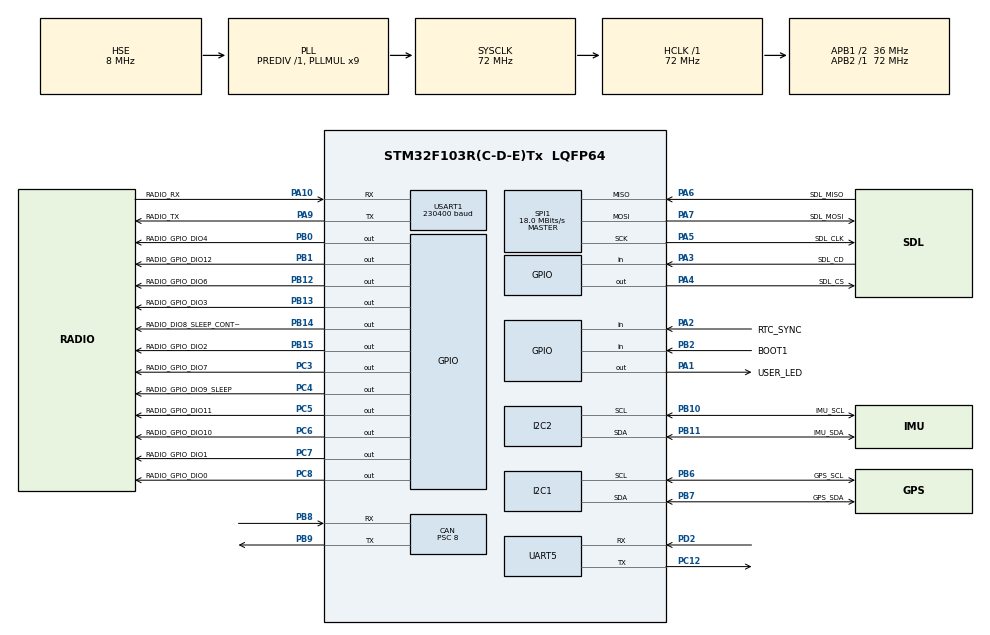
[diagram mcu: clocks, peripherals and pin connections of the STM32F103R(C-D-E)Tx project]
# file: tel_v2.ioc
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CAN.BS1=CAN_BS1_4TQ
CAN.BS2=CAN_BS2_4TQ
CAN.CalculateBaudRate=500000
CAN.CalculateTimeBit=2000
CAN.CalculateTimeQuantum=222.22222222222223
CAN.Prescaler=8
FATFS._FS_REENTRANT=0
FATFS._MAX_SS=4096
FATFS._USE_LFN=3
FREERTOS.Tasks01=StartDefaultTask,-2,128,startDefaultTask,Default,NULL,Dynamic,NULL,NULL;readCANTask,0,512,read_CAN_task,Default,NULL,Dynamic,NULL,NULL;readIMUTask,0,512,read_IMU_task,Default,NULL,Dynamic,NULL,NULL;readGPSTask,0,1536,read_GPS_task,Default,NULL,Dynamic,NULL,NULL;transmitRTCTask,0,512,transmit_RTC_task,Default,NULL,Dynamic,NULL,NULL;transmitDiagnosticsTask,0,512,transmit_Diagnostics_task,Default,NULL,Dynamic,NULL,NULL
FREERTOS.configMAX_TASK_NAME_LEN=32
FREERTOS.configTOTAL_HEAP_SIZE=20480
FREERTOS.configUSE_NEWLIB_REENTRANT=1
Mcu.Family=STM32F1
Mcu.Name=STM32F103R(C-D-E)Tx
Mcu.Package=LQFP64
NVIC.PriorityGroup=NVIC_PRIORITYGROUP_4
NVIC.TIM1_UP_IRQn=true\:15\:0\:false\:false\:true\:false\:false\:true\:true
NVIC.TimeBase=TIM1_UP_IRQn
NVIC.TimeBaseIP=TIM1
NVIC.USB_LP_CAN1_RX0_IRQn=true\:5\:0\:false\:false\:true\:true\:true\:true\:true
PA1.GPIO_Label=USER_LED
PA1.Signal=GPIO_Output
PA10.GPIO_Label=RADIO_RX
PA10.Mode=Asynchronous
PA10.Signal=USART1_RX
PA13.Mode=Serial_Wire
PA13.Signal=SYS_JTMS-SWDIO
PA14.Mode=Serial_Wire
PA14.Signal=SYS_JTCK-SWCLK
PA2.GPIO_Label=RTC_SYNC
PA2.Signal=GPIO_Input
PA3.GPIO_Label=SDL_CD
PA3.Signal=GPIO_Input
PA4.GPIO_Label=SDL_CS
PA4.PinState=GPIO_PIN_RESET
PA4.Signal=GPIO_Output
PA5.GPIO_Label=SDL_CLK
PA5.Mode=Full_Duplex_Master
PA5.Signal=SPI1_SCK
PA6.GPIO_Label=SDL_MISO
PA6.Mode=Full_Duplex_Master
PA6.Signal=SPI1_MISO
PA7.GPIO_Label=SDL_MOSI
PA7.Mode=Full_Duplex_Master
PA7.Signal=SPI1_MOSI
PA9.GPIO_Label=RADIO_TX
PA9.Mode=Asynchronous
PA9.Signal=USART1_TX
PB0.GPIO_Label=RADIO_GPIO_DIO4
PB0.PinState=GPIO_PIN_SET
PB0.Signal=GPIO_Output
PB1.GPIO_Label=RADIO_GPIO_DIO12
PB1.Signal=GPIO_Output
PB10.GPIO_Label=IMU_SCL
PB10.Mode=I2C
PB10.Signal=I2C2_SCL
PB11.GPIO_Label=IMU_SDA
PB11.Mode=I2C
PB11.Signal=I2C2_SDA
PB12.GPIO_Label=RADIO_GPIO_DIO6
PB12.Signal=GPIO_Output
PB13.GPIO_Label=RADIO_GPIO_DIO3
PB13.PinState=GPIO_PIN_SET
PB13.Signal=GPIO_Output
PB14.GPIO_Label=RADIO_DIO8_SLEEP_CONTROL
PB14.Signal=GPIO_Output
PB15.GPIO_Label=RADIO_GPIO_DIO2
PB15.PinState=GPIO_PIN_SET
PB15.Signal=GPIO_Output
PB2.GPIO_Label=BOOT1
PB2.Signal=GPIO_Input
PB6.GPIO_Label=GPS_SCL
PB6.Mode=I2C
PB6.Signal=I2C1_SCL
PB7.GPIO_Label=GPS_SDA
PB7.Mode=I2C
PB7.Signal=I2C1_SDA
PB8.Mode=CAN_Activate
PB8.Signal=CAN_RX
PB9.Mode=CAN_Activate
PB9.Signal=CAN_TX
PC12.Mode=Asynchronous
PC12.Signal=UART5_TX
PC14-OSC32_IN.Mode=LSE-External-Oscillator
PC14-OSC32_IN.Signal=RCC_OSC32_IN
PC15-OSC32_OUT.Mode=LSE-External-Oscillator
PC15-OSC32_OUT.Signal=RCC_OSC32_OUT
PC3.GPIO_Label=RADIO_GPIO_DIO7
PC3.Signal=GPIO_Output
PC4.GPIO_Label=RADIO_GPIO_DIO9_SLEEP
PC4.Signal=GPIO_Output
PC5.GPIO_Label=RADIO_GPIO_DIO11
PC5.Signal=GPIO_Output
PC6.GPIO_Label=RADIO_GPIO_DIO10
PC6.Signal=GPIO_Output
PC7.GPIO_Label=RADIO_GPIO_DIO1
PC7.PinState=GPIO_PIN_SET
PC7.Signal=GPIO_Output
PC8.GPIO_Label=RADIO_GPIO_DIO0
PC8.PinState=GPIO_PIN_SET
PC8.Signal=GPIO_Output
PD0-OSC_IN.Mode=HSE-External-Oscillator
PD0-OSC_IN.Signal=RCC_OSC_IN
PD1-OSC_OUT.Mode=HSE-External-Oscillator
PD1-OSC_OUT.Signal=RCC_OSC_OUT
PD2.Mode=Asynchronous
PD2.Signal=UART5_RX
ProjectManager.HeapSize=0x200
ProjectManager.StackSize=0x400
ProjectManager.TargetToolchain=STM32CubeIDE
RCC.AHBFreq_Value=72000000
RCC.APB1CLKDivider=RCC_HCLK_DIV2
RCC.APB1Freq_Value=36000000
RCC.APB1TimFreq_Value=72000000
RCC.APB2Freq_Value=72000000
RCC.APB2TimFreq_Value=72000000
RCC.HCLKFreq_Value=72000000
RCC.PLLMUL=RCC_PLL_MUL9
RCC.PLLSourceVirtual=RCC_PLLSOURCE_HSE
RCC.RTCClockSelection=RCC_RTCCLKSOURCE_LSE
RCC.SYSCLKFreq_VALUE=72000000
RCC.SYSCLKSource=RCC_SYSCLKSOURCE_PLLCLK
RCC.USBFreq_Value=72000000
SPI1.BaudRatePrescaler=SPI_BAUDRATEPRESCALER_4
SPI1.CalculateBaudRate=18.0 MBits/s
SPI1.Direction=SPI_DIRECTION_2LINES
SPI1.Mode=SPI_MODE_MASTER
SPI1.VirtualType=VM_MASTER
UART5.StopBits=UART_STOPBITS_2
UART5.VirtualMode=Asynchronous
USART1.BaudRate=230400
USART1.VirtualMode=VM_ASYNC
VP_FATFS_VS_Generic.Mode=User_defined
VP_FREERTOS_VS_CMSIS_V1.Mode=CMSIS_V1
VP_RTC_VS_RTC_Activate.Mode=RTC_Enabled
VP_RTC_VS_RTC_Calendar.Mode=RTC_Calendar
VP_SYS_VS_tim1.Mode=TIM1
board=custom

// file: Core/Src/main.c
/* USER CODE BEGIN Header */
/**
  ******************************************************************************
  * @file           : main.c
  * @brief          : Main program body
  ******************************************************************************
  * @attention
  *
  * Copyright (c) 2023 STMicroelectronics.
  * All rights reserved.
  *
  * This software is licensed under terms that can be found in the LICENSE file
  * in the root directory of this software component.
  * If no LICENSE file comes with this software, it is provided AS-IS.
  *
  ******************************************************************************
  */
/* USER CODE END Header */
#include "main.h"
#include "cmsis_os.h"
#include "can.h"
#include "fatfs.h"
#include "i2c.h"
#include "rtc.h"
#include "spi.h"
#include "usart.h"
#include "gpio.h"

/* USER CODE BEGIN Includes */
#include <stdbool.h>
#include <stdio.h>
#include <string.h>
#include "debug_io.h"
#include "sd_logger.h"

/* USER CODE END Includes */

/* USER CODE BEGIN PD */
#define CAN_MESSAGE_QUEUE_SIZE 10
#define IMU_QUEUE_SIZE 10
/* USER CODE END PD */

/* USER CODE BEGIN PV */

/* Diagnostics */

tel_diagnostics g_tel_diagnostics = {false, false, false, false, false};

/* CAN Filters */
CAN_FilterTypeDef CAN_filter0;
CAN_FilterTypeDef CAN_filter1;

/* HAL Status */
HAL_StatusTypeDef rx_status;

/* Log File */
FIL* logfile;

/* USER CODE END PV */

void SystemClock_Config(void);
void MX_FREERTOS_Init(void);

int main(void)
{

  /* MCU Configuration--------------------------------------------------------*/

  /* Reset of all peripherals, Initializes the Flash interface and the Systick. */
  HAL_Init();

  /* Configure the system clock */
  SystemClock_Config();

  /* Initialize all configured peripherals */
  MX_GPIO_Init();
  MX_CAN_Init();
  MX_SPI1_Init();
  MX_UART5_Init();
  MX_I2C1_Init();
  MX_I2C2_Init();
  MX_USART1_UART_Init();
  MX_RTC_Init();
  MX_FATFS_Init();
  /* USER CODE BEGIN 2 */

  DebugIO_Init(&huart5);
  initIMU();

  // Sync with RTC if date = Jan 1 2000 or GPIO is set to high
  RTC_DateTypeDef curr_date;
  RTC_TimeTypeDef curr_time;
  HAL_RTC_GetDate(&hrtc, &curr_date, RTC_FORMAT_BIN);
  /* Sync the RTC with GPS if date is Jan 1, 2000 */
  if ((curr_date.Month == RTC_MONTH_JANUARY && curr_date.Date == 1 && curr_date.Year == 0) || HAL_GPIO_ReadPin(RTC_SYNC_GPIO_Port, RTC_SYNC_Pin) == GPIO_PIN_SET) {
      Sync_RTC_With_GPS();
      g_tel_diagnostics.rtc_reset = true;
  }

//  FRESULT fresult;
//  char startup_message[60];
//  char filename[30];

//  HAL_RTC_GetDate(&hrtc, &curr_date, RTC_FORMAT_BIN);
//  HAL_RTC_GetTime(&hrtc, &curr_time, RTC_FORMAT_BIN);

  /* Year - Month - Date  Format */
//  sprintf(startup_message, "TEL start up on 20%u %u %u at %u:%u:%u", curr_date.Year,
//	  curr_date.Month, curr_date.Date, curr_time.Hours, curr_time.Minutes, curr_time.Seconds);

  /* mount SD card */
//  DSTATUS stat = disk_status(0);
//  DSTATUS stat2 = disk_initialize(0);
//  fresult = sd_mount();
  // if (fresult == FR_OK) printf("SD Mounted Successfully\n\r");
  // else printf("SD NOT Mounted\n\r");

//  sprintf(filename, "TEL-20%u-%u-%uT%u-%u-%u.txt", curr_date.Year, curr_date.Month,
//	  curr_date.Date, curr_time.Hours, curr_time.Minutes, curr_time.Seconds);
//  logfile = sd_open(filename);
//  sd_append(logfile, startup_message);

  /* USER CODE END 2 */

  /* Call init function for freertos objects (in freertos.c) */
  MX_FREERTOS_Init();

  /* Start scheduler */
  osKernelStart();

  /* We should never get here as control is now taken by the scheduler */
  /* Infinite loop */
  while (1)
  {

  }
}

void SystemClock_Config(void)
{
  RCC_OscInitTypeDef RCC_OscInitStruct = {0};
  RCC_ClkInitTypeDef RCC_ClkInitStruct = {0};
  RCC_PeriphCLKInitTypeDef PeriphClkInit = {0};

  /** Initializes the RCC Oscillators according to the specified parameters
  * in the RCC_OscInitTypeDef structure.
  */
  RCC_OscInitStruct.OscillatorType = RCC_OSCILLATORTYPE_HSE|RCC_OSCILLATORTYPE_LSE;
  RCC_OscInitStruct.HSEState = RCC_HSE_ON;
  RCC_OscInitStruct.HSEPredivValue = RCC_HSE_PREDIV_DIV1;
  RCC_OscInitStruct.LSEState = RCC_LSE_ON;
  RCC_OscInitStruct.HSIState = RCC_HSI_ON;
  RCC_OscInitStruct.PLL.PLLState = RCC_PLL_ON;
  RCC_OscInitStruct.PLL.PLLSource = RCC_PLLSOURCE_HSE;
  RCC_OscInitStruct.PLL.PLLMUL = RCC_PLL_MUL9;
  if (HAL_RCC_OscConfig(&RCC_OscInitStruct) != HAL_OK)
  {
    Error_Handler();
  }

  /** Initializes the CPU, AHB and APB buses clocks
  */
  RCC_ClkInitStruct.ClockType = RCC_CLOCKTYPE_HCLK|RCC_CLOCKTYPE_SYSCLK
                              |RCC_CLOCKTYPE_PCLK1|RCC_CLOCKTYPE_PCLK2;
  RCC_ClkInitStruct.SYSCLKSource = RCC_SYSCLKSOURCE_PLLCLK;
  RCC_ClkInitStruct.AHBCLKDivider = RCC_SYSCLK_DIV1;
  RCC_ClkInitStruct.APB1CLKDivider = RCC_HCLK_DIV2;
  RCC_ClkInitStruct.APB2CLKDivider = RCC_HCLK_DIV1;

  if (HAL_RCC_ClockConfig(&RCC_ClkInitStruct, FLASH_LATENCY_2) != HAL_OK)
  {
    Error_Handler();
  }
  PeriphClkInit.PeriphClockSelection = RCC_PERIPHCLK_RTC;
  PeriphClkInit.RTCClockSelection = RCC_RTCCLKSOURCE_LSE;
  if (HAL_RCCEx_PeriphCLKConfig(&PeriphClkInit) != HAL_OK)
  {
    Error_Handler();
  }
}

void HAL_TIM_PeriodElapsedCallback(TIM_HandleTypeDef *htim)
{
  if (htim->Instance == TIM1) {
    HAL_IncTick();
  }
}

void Error_Handler(void)
{
  __disable_irq();
  while (1)
  {
  }
}

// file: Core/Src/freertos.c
/* USER CODE BEGIN Header */
/**
  ******************************************************************************
  * File Name          : freertos.c
  * Description        : Code for freertos applications
  ******************************************************************************
  * @attention
  *
  * Copyright (c) 2023 STMicroelectronics.
  * All rights reserved.
  *
  * This software is licensed under terms that can be found in the LICENSE file
  * in the root directory of this software component.
  * If no LICENSE file comes with this software, it is provided AS-IS.
  *
  ******************************************************************************
  */
/* USER CODE END Header */

#include "FreeRTOS.h"
#include "task.h"
#include "main.h"
#include "cmsis_os.h"

/* USER CODE BEGIN Includes */

#include <stdio.h>
#include <time.h>
#include "can.h"
#include "gpio.h"
#include "spi.h"
#include "usart.h"
#include "i2c.h"
#include "nmea_parse.h"
#include "rtc.h"
#include "fatfs_sd.h"
#include "imu.h"
#include "sd_logger.h"
#include "main.h"

/* USER CODE END Includes */

/* USER CODE BEGIN PD */

#define KERNEL_LED_DELAY   200	      // 200 milliseconds
#define READ_IMU_DELAY     100	      // 100 milliseconds
#define READ_GPS_DELAY     10 * 1000  // 10 seconds (change to 5 minutes later)
#define TRANSMIT_RTC_DELAY 5000       // 5000 milliseconds
#define DEFAULT_TASK_DELAY 500        // 500 milliseconds
#define TRANSMIT_DIAGNOSTICS_DELAY 2000 // 2000 milliseconds

#define CAN_BUFFER_LEN  24

#define GPS_MESSAGE_LEN 200

#define GPS_RCV_BUFFER_SIZE 512

union FloatBytes {
    float float_value;
    uint8_t bytes[4];
} FloatBytes;

/* Use this MACRO to split the time stamp into individual bytes */
#define GET_BYTE_FROM_WORD(i, word) ((word >> (i * 8)) & 0xFF);

/* USER CODE END PD */

/* USER CODE BEGIN Variables */

extern FIL* logfile;

CAN_msg_t msg_t;

int drive_cmd_count; // Used for only logging this 10 times per second

/* Define Memory Pool for the CAN_MSG queue data */
osPoolDef (CAN_MSG_memory_pool, 32, CAN_msg_t);  // Declare memory pool
osPoolId  CAN_MSG_memory_pool;                 // Memory pool ID

/* Create the Queue */
// https://community.st.com/t5/stm32-mcus-products/osmessageget-crashing/td-p/257324
// See this link for issues why osMessageGet may crash
// osMessageQDef needs a pointer to the structure type, which needs to be a "dummy", not pointer to typedef.
osMessageQDef(CAN_MSG_Rx_Queue, 32, &msg_t);              // Define message queue
osMessageQId  CAN_MSG_Rx_Queue;

/* USER CODE END Variables */
osThreadId StartDefaultTaskHandle;
osThreadId readCANTaskHandle;
osThreadId readIMUTaskHandle;
osThreadId readGPSTaskHandle;
osThreadId transmitRTCTaskHandle;
osThreadId transmitDiagnosticsTaskHandle;

/* USER CODE BEGIN FunctionPrototypes */
void check_IMU_result(union FloatBytes ax_x, union FloatBytes ax_y, union FloatBytes ax_z,
		      union FloatBytes gy_x, union FloatBytes gy_y, union FloatBytes gy_z);

void send_CAN_Radio(CAN_Radio_msg_t *tx_CAN_msg);

/* USER CODE END FunctionPrototypes */

void startDefaultTask(void const * argument);
void read_CAN_task(void const * argument);
void read_IMU_task(void const * argument);
void read_GPS_task(void const * argument);
void transmit_RTC_task(void const * argument);
void transmit_Diagnostics_task(void const * argument);

void MX_FREERTOS_Init(void); /* (MISRA C 2004 rule 8.1) */

/* GetIdleTaskMemory prototype (linked to static allocation support) */
void vApplicationGetIdleTaskMemory( StaticTask_t **ppxIdleTaskTCBBuffer, StackType_t **ppxIdleTaskStackBuffer, uint32_t *pulIdleTaskStackSize );

/* USER CODE BEGIN GET_IDLE_TASK_MEMORY */
static StaticTask_t xIdleTaskTCBBuffer;
static StackType_t xIdleStack[configMINIMAL_STACK_SIZE];

void vApplicationGetIdleTaskMemory( StaticTask_t **ppxIdleTaskTCBBuffer, StackType_t **ppxIdleTaskStackBuffer, uint32_t *pulIdleTaskStackSize )
{
  *ppxIdleTaskTCBBuffer = &xIdleTaskTCBBuffer;
  *ppxIdleTaskStackBuffer = &xIdleStack[0];
  *pulIdleTaskStackSize = configMINIMAL_STACK_SIZE;
  /* place for user code */
}
/* USER CODE END GET_IDLE_TASK_MEMORY */

void MX_FREERTOS_Init(void) {
  /* USER CODE BEGIN Init */

  drive_cmd_count = 0;

  /* USER CODE END Init */

  /* USER CODE BEGIN RTOS_QUEUES */
  /* add queues, ... */

  CAN_MSG_memory_pool = osPoolCreate(osPool(CAN_MSG_memory_pool));                 // create memory pool
  CAN_MSG_Rx_Queue = osMessageCreate(osMessageQ(CAN_MSG_Rx_Queue), NULL);  // create msg queue

  /* USER CODE END RTOS_QUEUES */

  /* Create the thread(s) */
  /* definition and creation of StartDefaultTask */
  osThreadDef(StartDefaultTask, startDefaultTask, osPriorityLow, 0, 128);
  StartDefaultTaskHandle = osThreadCreate(osThread(StartDefaultTask), NULL);

  /* definition and creation of readCANTask */
  osThreadDef(readCANTask, read_CAN_task, osPriorityNormal, 0, 512);
  readCANTaskHandle = osThreadCreate(osThread(readCANTask), NULL);

  /* definition and creation of readIMUTask */
  osThreadDef(readIMUTask, read_IMU_task, osPriorityNormal, 0, 512);
  readIMUTaskHandle = osThreadCreate(osThread(readIMUTask), NULL);

  /* definition and creation of readGPSTask */
  osThreadDef(readGPSTask, read_GPS_task, osPriorityNormal, 0, 1536);
  readGPSTaskHandle = osThreadCreate(osThread(readGPSTask), NULL);

  /* definition and creation of transmitRTCTask */
  osThreadDef(transmitRTCTask, transmit_RTC_task, osPriorityNormal, 0, 512);
  transmitRTCTaskHandle = osThreadCreate(osThread(transmitRTCTask), NULL);

  /* definition and creation of transmitDiagnosticsTask */
  osThreadDef(transmitDiagnosticsTask, transmit_Diagnostics_task, osPriorityNormal, 0, 512);
  transmitDiagnosticsTaskHandle = osThreadCreate(osThread(transmitDiagnosticsTask), NULL);

}

void startDefaultTask(void const * argument)
{
  /* USER CODE BEGIN startDefaultTask */
  Can_Init();

  /* Infinite loop */
  for(;;)
  {
    //printf("startDefaultTask()\n\r");
//    HAL_GPIO_TogglePin(USER_LED_GPIO_Port, USER_LED_Pin);
    osDelay(DEFAULT_TASK_DELAY);
  }
  /* USER CODE END startDefaultTask */
}

void read_CAN_task(void const * argument)
{
  /* USER CODE BEGIN read_CAN_task */
  CAN_msg_t *rx_CAN_msg;
  osEvent evt;

  /* Infinite loop */
  while (1) {
    //printf("read_CAN_task()\n\r");
    /* Wait for thread flags to be set in the CAN Rx FIFO0 Interrupt Callback */
    osSignalWait(CAN_READY, osWaitForever);

    /*
     * Control Flow:
     * Wait for Flag from Interrupt
     * After flag occurs, read messages from queue repeatedly until it is empty
     * Once empty, wait for flag again.
     */

    /* Get CAN Message from Queue */
    while(1) {
      uint8_t radio_buffer[CAN_BUFFER_LEN] = {0};
      evt = osMessageGet(CAN_MSG_Rx_Queue, osWaitForever);
      if (evt.status == osEventMessage) {
	  HAL_GPIO_TogglePin(USER_LED_GPIO_Port, USER_LED_Pin);
	  rx_CAN_msg = evt.value.p; // Get pointer from the queue union

	 // 0-7: Timestamp
	 // 8: '#'
	 // 9-12: CAN ID
	 // 13-20: CAN Data
	 // 21: CAN Data Length
	 // 22: '\r'             // TODO: Do we need this? maybe just use \0 instead?
	 // 23: '\n'

	 /* TIMESTAMP */

	 for (uint8_t i = 0; i < 8; i++) {
//	   radio_buffer[7 - i] = GET_BYTE_FROM_WORD(i, current_timestamp.double_as_int);
	   radio_buffer[7 - i] = (char) GET_BYTE_FROM_WORD(i, rx_CAN_msg->timestamp.double_as_int);
	 }

	 /* CAN MESSAGE IDENTIFIER */
	 radio_buffer[8] = '#';

	 /* CAN ID */ // TODO: Check if this is correct. Are the 0 bytes in the STD in the correct spot?
	 if (rx_CAN_msg->header.IDE == CAN_ID_STD)
	 {
	   radio_buffer[12]  = 0xFF & (rx_CAN_msg->header.StdId);
	   radio_buffer[11] = 0xFF & (rx_CAN_msg->header.StdId >> 8);
	 }
	 else if (rx_CAN_msg->header.IDE == CAN_ID_EXT)
	 {
	   radio_buffer[12]  = 0xFF & (rx_CAN_msg->header.ExtId);
	   radio_buffer[11] = 0xFF & (rx_CAN_msg->header.ExtId >> 8);
	   radio_buffer[10] = 0xFF & (rx_CAN_msg->header.ExtId >> 16);
	   radio_buffer[9] = 0xFF & (rx_CAN_msg->header.ExtId >> 24);
	 }

	 /* CAN DATA */
	 for (uint8_t i = 0; i < 8; i++) {
	   radio_buffer[13 + i] = rx_CAN_msg->data[i];
	 }

	 /* CAN DATA LENGTH */
	 radio_buffer[21] = rx_CAN_msg->header.DLC & 0xF;

	 /* CARRIAGE RETURN */
	 radio_buffer[CAN_BUFFER_LEN - 2] = '\r';

	 /* NEW LINE */
	 radio_buffer[CAN_BUFFER_LEN - 1] = '\n';

//	 sd_append_as_hexnums(logfile, radio_buffer, CAN_BUFFER_LEN);

	 /* Transmit over Radio */
	 HAL_UART_Transmit(&huart1, radio_buffer, sizeof(radio_buffer), 1000);

//	 /* Check for drive command */
//	 if (rx_CAN_msg->header.StdId == 0x401) {
//	     drive_cmd_count++; // Increment the count received
//	     if (drive_cmd_count == 10) { // Log every 10 of these messages
//		 sd_append_as_hexnums(logfile, radio_buffer, CAN_BUFFER_LEN);
//		 drive_cmd_count = 0; // Reset the counter
//	     }
//	 }
//	 else { // Always write non drive command msgs to SD logger
//	   /* Convert radio_buffer to hex_string so it can be logged. MUST NOT USE strlen */
//	   sd_append_as_hexnums(logfile, radio_buffer, CAN_BUFFER_LEN);
//	 }

	/* Free the memory allocated for this message */
	osPoolFree(CAN_MSG_memory_pool, rx_CAN_msg);

       }
      else break;
    }
//    else osDelay(5);
  }

  /* USER CODE END read_CAN_task */
}

void read_IMU_task(void const * argument)
{
  /* USER CODE BEGIN read_IMU_task */

  /* Infinite loop */
  while(1)
  {
    //printf("read_IMU_task()\n\r");
    /* Initialize a IMU buffer */
    uint8_t imu_buffer[IMU_MESSAGE_LEN] = {0};

    union FloatBytes ax_x, ax_y, ax_z, gy_x, gy_y, gy_z;

    /* Read accelerator data */
    uint8_t accel_data[NUM_ACCEL_BYTES];
    HAL_StatusTypeDef imu_status = HAL_OK;

    imu_status |= HAL_I2C_Mem_Read(&hi2c2, IMU_DEVICE_ADDRESS, ACCEL_XOUT_H_REG, 1, accel_data, NUM_ACCEL_BYTES, 1000);

    uint16_t Accel_X_RAW = (uint16_t)(accel_data[0] << 8 | accel_data[1]);
    uint16_t Accel_Y_RAW = (uint16_t)(accel_data[2] << 8 | accel_data[3]);
    uint16_t Accel_Z_RAW = (uint16_t)(accel_data[4] << 8 | accel_data[5]);
    /*
     * Convert the RAW values into acceleration in 'g' we have to divide according to the Full scale value
     * set in FS_SEL. Have configured FS_SEL = 0. So I am dividing by 16384.0
     * For more details check ACCEL_CONFIG Register.
     */
    ax_x.float_value = Accel_X_RAW / 16384.0;  // get the float g
    ax_y.float_value = Accel_Y_RAW / 16384.0;
    ax_z.float_value = Accel_Z_RAW / 16384.0;

    osDelay(250);

    /* Read gyroscope data */
    uint8_t gyro_data[NUM_GYRO_BYTES];

    imu_status |= HAL_I2C_Mem_Read(&hi2c2, IMU_DEVICE_ADDRESS, GYRO_XOUT_H_REG, 1, gyro_data, NUM_GYRO_BYTES, 1000);
    uint16_t Gyro_X_RAW = (uint16_t)(gyro_data[0] << 8 | gyro_data[1]);
    uint16_t Gyro_Y_RAW = (uint16_t)(gyro_data[2] << 8 | gyro_data[3]);
    uint16_t Gyro_Z_RAW = (uint16_t)(gyro_data[4] << 8 | gyro_data[5]);
    /*
     * Convert the RAW values into dps (degrees/s) we have to divide according to the
     * Full scale value set in FS_SEL. Have configured FS_SEL = 0.
     * So I am dividing by 131.0. For more details check GYRO_CONFIG Register
     */
    gy_x.float_value = Gyro_X_RAW / 131.0;  // get the float g
    gy_y.float_value = Gyro_Y_RAW / 131.0;
    gy_z.float_value = Gyro_Z_RAW / 131.0;

    /* Verify IMU is connected */
    // check_IMU_result(ax_x, ax_y, ax_z, gy_x, gy_y, gy_z); // TODO set flag

    /* Get current epoch Time Stamp */
    union DoubleBytes current_timestamp;
    current_timestamp.double_value = get_current_timestamp();

    /* Transmit IMU data */
//    transmit_imu_data(current_timestamp.double_as_int, ax_x.bytes, 'A', 'X');
//    transmit_imu_data(current_timestamp.double_as_int, ax_y.bytes, 'A', 'Y');
//    transmit_imu_data(current_timestamp.double_as_int, ax_z.bytes, 'A', 'Z');
//    transmit_imu_data(current_timestamp.double_as_int, gy_x.bytes, 'G', 'X');
//    transmit_imu_data(current_timestamp.double_as_int, gy_y.bytes, 'G', 'Y');
//    transmit_imu_data(current_timestamp.double_as_int, gy_z.bytes, 'G', 'Z');

    CAN_Radio_msg_t x_axis_data, y_axis_data, z_axis_data;

    /* Set headers */
    x_axis_data.header = IMU_x_axis_header;
    y_axis_data.header = IMU_y_axis_header;
    z_axis_data.header = IMU_z_axis_header;

    /* Assign the timestamp */
    x_axis_data.timestamp = current_timestamp;
    y_axis_data.timestamp = current_timestamp;
    z_axis_data.timestamp = current_timestamp;

    for (int i = 0; i < 4; i++) {
	// X-axis data
	x_axis_data.data[i] = ax_x.bytes[i];
	x_axis_data.data[4+i] = gy_x.bytes[i];

	// Y-axis data
	y_axis_data.data[i] = ax_y.bytes[i];
	y_axis_data.data[4+i] = gy_y.bytes[i];

	// Z-axis data
	z_axis_data.data[i] = ax_z.bytes[i];
	z_axis_data.data[4+i] = gy_z.bytes[i];
    }

    printf("IMU G_X: %f\n\r", gy_x.float_value);
    printf("IMU G_Y: %f\n\r", gy_y.float_value);
    printf("IMU G_Z: %f\n\r", gy_z.float_value);

    /* Transmit the messages */
    HAL_CAN_AddTxMessage(&hcan, &x_axis_data.header, x_axis_data.data, &can_mailbox);
    send_CAN_Radio(&x_axis_data);

    HAL_CAN_AddTxMessage(&hcan, &y_axis_data.header, y_axis_data.data, &can_mailbox);
    send_CAN_Radio(&y_axis_data);

    HAL_CAN_AddTxMessage(&hcan, &z_axis_data.header, z_axis_data.data, &can_mailbox);
    send_CAN_Radio(&z_axis_data);

    // Update diagnostics
    g_tel_diagnostics.imu_fail = (imu_status != HAL_OK);

    /* Delay */
//    osDelay(READ_IMU_DELAY * 5); // 500 ms
    osDelay(250);
  }

  /* USER CODE END read_IMU_task */
}

void read_GPS_task(void const * argument)
{
  /* USER CODE BEGIN read_GPS_task */
  /* Infinite loop */
  while(1) {
    /* Initialize buffers */
    //printf("read_GPS_task()\n\r");
    uint8_t receive_buffer[GPS_RCV_BUFFER_SIZE];
    GPS gps_data;
    GPS_msg_t gps_message;
    uint8_t gps_buffer[GPS_MESSAGE_LEN] = {0};

    /* Read in an NMEA message into the buffer */
    if(HAL_I2C_IsDeviceReady(&hi2c1, GPS_DEVICE_ADDRESS, 1, HAL_MAX_DELAY) == HAL_OK) {
	    HAL_I2C_Master_Receive(&hi2c1, GPS_DEVICE_ADDRESS, receive_buffer, sizeof(receive_buffer), HAL_MAX_DELAY);
    }

    /* Parse the buffer data --> gets stored in gps_data; */
    nmea_parse(&gps_data, &receive_buffer);

//    /* Create string */
//    sprintf(gps_message.data,
//	    "Latitude: %.6f %c, Longitude: %.6f %c, Altitude: %.2f meters, HDOP: %.2f, Satellites: %d, Fix: %d, Time: %s",
//	    gps_data.latitude, gps_data.latSide,
//	    gps_data.longitude, gps_data.lonSide,
//	    gps_data.altitude, gps_data.hdop,
//	    gps_data.satelliteCount, gps_data.fix,
//	    gps_data.lastMeasure);
//
//    /* Null Terminate */
//    gps_message.data[sizeof(gps_message.data) - 1] = '\0';
//
//    /* Get current epoch Time Stamp */
//    union DoubleBytes current_timestamp;
//    current_timestamp.double_value = get_current_timestamp();
//
//    /* TIMESTAMP: 8 Bytes */
//    for (uint8_t i = 0; i < 8; i++) {
//      gps_buffer[7 - i] = GET_BYTE_FROM_WORD(i, current_timestamp.double_as_int);
//    }
//
//    /*
//     * Copy the NMEA data into the buffer, ensuring not to exceed the buffer size
//     * Adds 8 to the start to skip the time stamp
//     */
//    strncpy(gps_buffer + 8, gps_message.data, 150); // Save space for CR+LF
//
//    gps_buffer[GPS_MESSAGE_LEN - 2] = '\r'; // Carriage return
//    gps_buffer[GPS_MESSAGE_LEN - 1] = '\n'; // Line feed

    /* Transmit the NMEA message over UART to radio */
//    HAL_UART_Transmit(&huart1, gps_buffer, sizeof(gps_buffer), 1000);

    /* Get current epoch Time Stamp */
    union DoubleBytes current_timestamp;
    current_timestamp.double_value = get_current_timestamp();

    CAN_Radio_msg_t latitude_msg, longitude_msg, altitude_hdop_msg, side_and_count_msg;
    union DoubleBytes latitude_bytes, longitude_bytes;
    union FloatBytes altitude_bytes, hdop_bytes;

    /* Assign headers */
    latitude_msg.header = GPS_latitude_header;
    longitude_msg.header = GPS_longitude_header;
    altitude_hdop_msg.header = GPS_altitude_hdop_header;
    side_and_count_msg.header = GPS_side_count_header;

    /* Assign timestamps */
    latitude_msg.timestamp = current_timestamp;
    longitude_msg.timestamp = current_timestamp;
    altitude_hdop_msg.timestamp = current_timestamp;
    side_and_count_msg.timestamp = current_timestamp;

    /* Assign data as double/float so it can be read as uint64/uint8x4 */
    latitude_bytes.double_value = gps_data.latitude;
    longitude_bytes.double_value = gps_data.longitude;
    altitude_bytes.float_value = gps_data.altitude;
    hdop_bytes.float_value = gps_data.hdop;

    for  (uint8_t i=0; i < 8; i++) {
	latitude_msg.data[7 - i] = GET_BYTE_FROM_WORD(i, latitude_bytes.double_as_int);
	longitude_msg.data[7 - i] = GET_BYTE_FROM_WORD(i, longitude_bytes.double_as_int);
	altitude_hdop_msg.data[3 - i] = altitude_bytes.bytes[i];
	altitude_hdop_msg.data[7 - i] = hdop_bytes.bytes[i];
    }

    /* Satellite Count Cast */
    uint32_t sat_count = (uint32_t) gps_data.satelliteCount;
    side_and_count_msg.data[0] = gps_data.latSide;
    side_and_count_msg.data[1] = gps_data.lonSide;
    for  (uint8_t i=0; i < 4; i++) {
	side_and_count_msg.data[5 - i] = ((sat_count >> (8 * i)) && 0xFF);
    }
    side_and_count_msg.data[6] = 0;
    side_and_count_msg.data[7] = 0;

    /* Transmit a message every 2 seconds */
    HAL_CAN_AddTxMessage(&hcan, &latitude_msg.header, latitude_msg.data, &can_mailbox);
    send_CAN_Radio(&latitude_msg);
    osDelay(2000);

    HAL_CAN_AddTxMessage(&hcan, &longitude_msg.header, longitude_msg.data, &can_mailbox);
    send_CAN_Radio(&longitude_msg);
    osDelay(2000);

    HAL_CAN_AddTxMessage(&hcan, &altitude_hdop_msg.header, altitude_hdop_msg.data, &can_mailbox);
    send_CAN_Radio(&altitude_hdop_msg);
    osDelay(2000);

    HAL_CAN_AddTxMessage(&hcan, &side_and_count_msg.header, side_and_count_msg.data, &can_mailbox);
    send_CAN_Radio(&side_and_count_msg);
    osDelay(4000); // 4000 so we have 2 + 2 + 2 + 4 = 10 seconds total

    /* Convert gps_buffer to hex_string so it can be logged. MUST NOT USE strlen */
//    sd_append_as_hexnums(logfile, gps_buffer, GPS_MESSAGE_LEN);

    /* Delay */
//    osDelay(READ_GPS_DELAY);
  }

  /* USER CODE END read_GPS_task */
}

void transmit_RTC_task(void const * argument)
{
  /* USER CODE BEGIN transmit_RTC_task */
  /* Infinite loop */
  for(;;)
  {

    CAN_Radio_msg_t rtc_msg;
    rtc_msg.header = rtc_timestamp_header;

    union DoubleBytes current_timestamp;
    current_timestamp.double_value = get_current_timestamp();

    rtc_msg.timestamp = current_timestamp;

    // Populate data_send array
    for (int i = 0; i < 8; i++) {
        rtc_msg.data[i] = (current_timestamp.double_as_int >> (8 * i)) & 0xFF;
    }

    HAL_CAN_AddTxMessage(&hcan, &rtc_msg.header, rtc_msg.data, &can_mailbox);
    send_CAN_Radio(&rtc_msg);

    osDelay(TRANSMIT_RTC_DELAY);
  }
  /* USER CODE END transmit_RTC_task */
}

void transmit_Diagnostics_task(void const * argument)
{
  /* USER CODE BEGIN transmit_Diagnostics_task */
  /* Infinite loop */
  for(;;)
  {
    uint8_t data_send = 0x00;

    CAN_Radio_msg_t diagnostics_msg;
    diagnostics_msg.header = tel_diagnostics_header;

    union DoubleBytes current_timestamp;
    current_timestamp.double_value = get_current_timestamp();

    diagnostics_msg.timestamp = current_timestamp;

    if(g_tel_diagnostics.rtc_reset)
      SET_BIT(data_send, 1 << 0);
    if(g_tel_diagnostics.gps_sync_fail)
      SET_BIT(data_send, 1 << 1);
    if(g_tel_diagnostics.imu_fail)
      SET_BIT(data_send, 1 << 2);
    if(g_tel_diagnostics.gps_fail)
      SET_BIT(data_send, 1 << 3);
    if(g_tel_diagnostics.watchdog_reset)
      SET_BIT(data_send, 1 << 4);

    diagnostics_msg.data[0] = data_send;

    HAL_CAN_AddTxMessage(&hcan, &diagnostics_msg.header, diagnostics_msg.data, &can_mailbox);
    send_CAN_Radio(&diagnostics_msg);

    osDelay(TRANSMIT_DIAGNOSTICS_DELAY);
  }
  /* USER CODE END transmit_Diagnostics_task */
}

/* USER CODE BEGIN Application */

/*
 * Performs IMU Data Check
 */
void check_IMU_result(union FloatBytes ax_x, union FloatBytes ax_y, union FloatBytes ax_z,
		      union FloatBytes gy_x, union FloatBytes gy_y, union FloatBytes gy_z)
{
  if (ax_x.float_value == 0.0f && ax_y.float_value == 0.0f && ax_z.float_value == 0.0f &&
      gy_x.float_value == 0.0f && gy_y.float_value == 0.0f && gy_z.float_value == 0.0f) {
      // This means there was a disconnect in one of the IMU cables and it needs to be re-initialized
      initIMU();
  }
}

void send_CAN_Radio(CAN_Radio_msg_t *tx_CAN_msg)
{
  uint8_t radio_buffer[CAN_BUFFER_LEN] = {0};

  /* TIMESTAMP */
  for (uint8_t i = 0; i < 8; i++) {
    radio_buffer[7 - i] = (char) GET_BYTE_FROM_WORD(i, tx_CAN_msg->timestamp.double_as_int);
  }

  /* CAN MESSAGE IDENTIFIER */
  radio_buffer[8] = '#';

  /* CAN ID */
  if (tx_CAN_msg->header.IDE == CAN_ID_STD)
  {
    radio_buffer[12]  = 0xFF & (tx_CAN_msg->header.StdId);
    radio_buffer[11] = 0xFF & (tx_CAN_msg->header.StdId >> 8);
  }
  else if (tx_CAN_msg->header.IDE == CAN_ID_EXT)
  {
     radio_buffer[12]  = 0xFF & (tx_CAN_msg->header.ExtId);
     radio_buffer[11] = 0xFF & (tx_CAN_msg->header.ExtId >> 8);
     radio_buffer[10] = 0xFF & (tx_CAN_msg->header.ExtId >> 16);
     radio_buffer[9] = 0xFF & (tx_CAN_msg->header.ExtId >> 24);
  }

   /* CAN DATA */
   for (uint8_t i = 0; i < 8; i++) {
     radio_buffer[13 + i] = tx_CAN_msg->data[i];
   }

   /* CAN DATA LENGTH */
   radio_buffer[21] = tx_CAN_msg->header.DLC & 0xF;

   /* CARRIAGE RETURN */
   radio_buffer[CAN_BUFFER_LEN - 2] = '\r';

   /* NEW LINE */
   radio_buffer[CAN_BUFFER_LEN - 1] = '\n';

   HAL_UART_Transmit(&huart1, radio_buffer, sizeof(radio_buffer), 1000);

}

/* USER CODE END Application */
